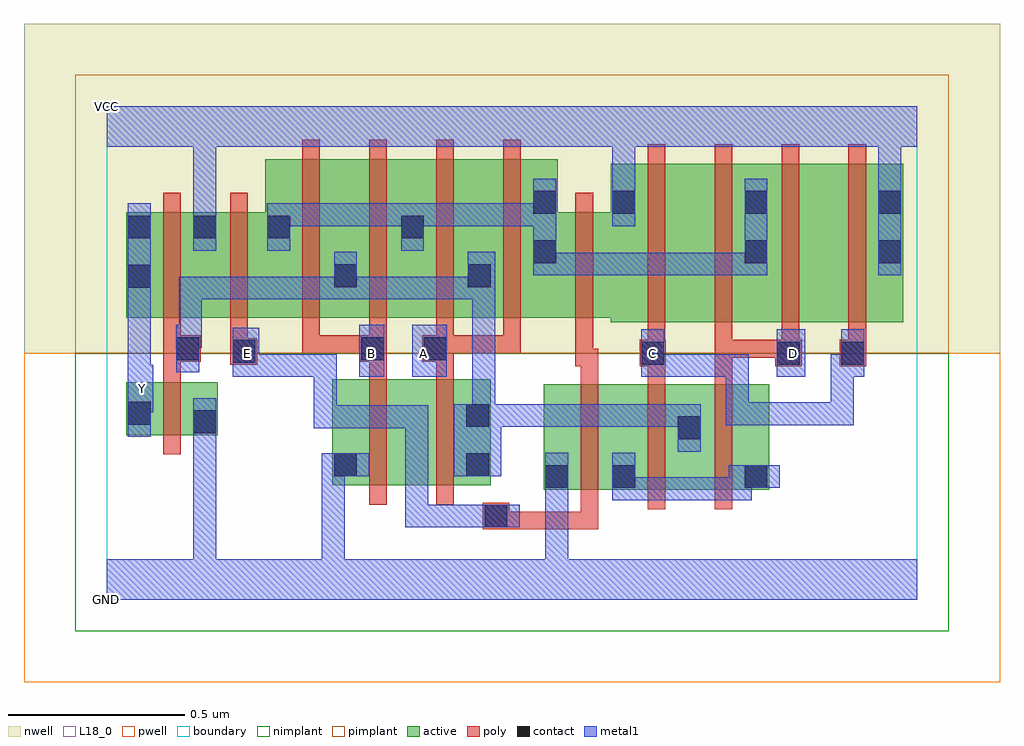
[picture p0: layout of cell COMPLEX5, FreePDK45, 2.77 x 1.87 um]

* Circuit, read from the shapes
.subckt COMPLEX5 A B C D E GND VCC Y
M1 GND n1 Y VSUBS nfet w=0.15u l=0.05u
M2 n2 B GND VSUBS nfet w=0.3u l=0.05u
M3 n1 A n2 VSUBS nfet w=0.3u l=0.05u
M4 n3 E GND VSUBS nfet w=0.3u l=0.05u
M5 n1 C n3 VSUBS nfet w=0.3u l=0.05u
M6 n3 D n1 VSUBS nfet w=0.3u l=0.05u
M7 VCC n1 Y n4 pfet w=0.3u l=0.05u
M8 n5 E VCC n4 pfet w=0.3u l=0.05u m=2
M9 n1 B n5 n4 pfet w=0.45u l=0.05u m=2
M10 n1 A n5 n4 pfet w=0.45u l=0.05u m=2
M11 n6 C VCC n4 pfet w=0.45u l=0.05u
M12 n5 D n6 n4 pfet w=0.45u l=0.05u
M13 n7 D n5 n4 pfet w=0.45u l=0.05u
M14 VCC C n7 n4 pfet w=0.45u l=0.05u
.ends

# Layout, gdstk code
import gdstk
lib = gdstk.Library(unit=1e-6, precision=1e-09)
def R(c, l, rs):  # rectangles x0, y0, x1, y1
    for r in rs: c.add(gdstk.rectangle(r[:2], r[2:], *l))
def A(c, l, x, y, w, h, nx, ny, dx, dy):  # array of equal rectangles
    R(c, l, [(x+i*dx, y+j*dy, x+i*dx+w, y+j*dy+h) for i in range(nx) for j in range(ny)])
active = (1, 0)
pwell = (2, 0)
nwell = (3, 0)
nimplant = (4, 0)
pimplant = (5, 0)
poly = (9, 0)
contact = (10, 0)
metal1 = (11, 0)
L18_0 = (18, 0)
boundary = (235, 0)

complex5 = lib.new_cell('COMPLEX5')
A(complex5, active, 0.45, 0.8, 0.265, 0.45, 3, 1, 0.19, 0)
R(complex5, active, [(1.24,0.312,1.315,0.612), (1.24,0.312,1.505,0.612), (1.43,0.312,1.69,0.612), (1.43,0.312,1.505,0.547), (1.615,0.312,1.88,0.612), (1.805,0.312,1.88,0.612), (0.64,0.325,0.715,0.625), (0.64,0.325,0.865,0.625), (0.865,0.325,1.09,0.625), (1.615,0.33,1.69,0.525), (1.015,0.345,1.09,0.625), (0.055,0.467,0.315,0.617), (0.24,0.467,0.315,0.617), (0.055,0.492,0.13,0.617), (1.43,0.787,1.655,1.237), (1.655,0.787,1.88,1.237), (1.805,0.787,2.035,1.237), (1.805,0.787,1.88,1.2), (2.035,0.787,2.26,1.237), (2.185,0.787,2.26,1.237), (0.055,0.8,0.13,1.1), (0.055,0.8,0.315,1.1), (0.24,0.8,0.525,1.1), (0.64,0.8,0.715,1.07), (0.83,0.8,0.905,1.2), (1.02,0.8,1.28,1.25), (1.02,0.8,1.095,1.07), (1.205,0.8,1.505,1.1), (1.205,0.95,1.28,1.2), (0.24,1.007,0.315,1.1), (0.45,1.007,0.525,1.2), (1.43,1.007,1.505,1.165)])
R(complex5, pwell, [(-0.235,-0.235,2.535,0.7)])
R(complex5, nwell, [(-0.235,0.7,2.535,1.635)])
R(complex5, nimplant, [(-0.09,-0.09,2.39,0.7)])
R(complex5, pimplant, [(-0.09,0.7,2.39,1.49)])
A(complex5, poly, 1.345, 0.257, 0.05, 0.41, 3, 1, 0.19, 0)
A(complex5, poly, 1.535, 0.687, 0.05, 0.095, 4, 1, 0.19, 0)
A(complex5, poly, 0.555, 0.7, 0.05, 0.095, 4, 1, 0.19, 0)
A(complex5, poly, 1.535, 0.732, 0.05, 0.56, 4, 1, 0.19, 0)
A(complex5, poly, 0.555, 0.745, 0.05, 0.56, 4, 1, 0.19, 0)
R(complex5, poly, [(1.067,0.2,1.142,0.275), (1.092,0.2,1.142,0.25), (1.092,0.2,1.142,0.25), (1.092,0.2,1.395,0.25), (1.345,0.2,1.395,0.25), (1.345,0.2,1.395,0.25), (1.345,0.2,1.395,0.25), (1.345,0.2,1.395,0.307), (0.745,0.27,0.795,0.68), (0.935,0.27,0.985,0.68), (0.16,0.412,0.21,0.672), (1.345,0.617,1.395,0.712), (1.535,0.617,1.585,0.712), (1.725,0.617,1.775,0.737), (0.16,0.622,0.21,0.725), (0.745,0.63,0.795,0.725), (0.935,0.63,0.985,0.725), (1.33,0.662,1.38,0.795), (1.33,0.662,1.395,0.712), (1.512,0.662,1.587,0.737), (1.897,0.662,1.972,0.737), (2.08,0.662,2.155,0.737), (0.35,0.667,0.427,0.742), (0.16,0.675,0.267,0.75), (0.717,0.675,0.795,0.75), (0.895,0.675,0.985,0.75), (1.725,0.687,1.775,0.737), (1.725,0.687,1.947,0.737), (1.897,0.687,1.947,0.737), (1.897,0.687,1.947,0.737), (0.35,0.692,0.4,0.795), (0.16,0.7,0.21,0.795), (0.555,0.7,0.605,0.75), (0.555,0.7,0.767,0.75), (0.717,0.7,0.767,0.75), (0.717,0.7,0.767,0.75), (0.935,0.7,0.985,0.75), (0.935,0.7,0.985,0.75), (0.935,0.7,1.175,0.75), (1.125,0.7,1.175,0.75), (0.16,0.745,0.21,1.155), (0.35,0.745,0.4,1.155), (1.33,0.745,1.38,1.155)])
R(complex5, contact, [(1.072,0.205,1.137,0.27), (1.245,0.317,1.31,0.382), (1.435,0.317,1.5,0.382), (1.81,0.317,1.875,0.382), (0.645,0.35,0.71,0.415), (1.02,0.35,1.085,0.415), (1.62,0.455,1.685,0.52), (0.245,0.472,0.31,0.537), (1.02,0.49,1.085,0.555), (0.06,0.497,0.125,0.562), (1.517,0.667,1.582,0.732), (1.902,0.667,1.967,0.732), (2.085,0.667,2.15,0.732), (0.357,0.672,0.422,0.737), (0.197,0.68,0.262,0.745), (0.722,0.68,0.787,0.745), (0.9,0.68,0.965,0.745), (0.06,0.885,0.125,0.95), (0.645,0.887,0.71,0.952), (1.025,0.887,1.09,0.952), (1.21,0.955,1.275,1.02), (1.81,0.955,1.875,1.02), (2.19,0.955,2.255,1.02), (0.06,1.025,0.125,1.09), (0.245,1.025,0.31,1.09), (0.455,1.025,0.52,1.09), (0.835,1.025,0.9,1.09), (1.21,1.095,1.275,1.16), (1.435,1.095,1.5,1.16), (1.81,1.095,1.875,1.16), (2.19,1.095,2.255,1.16)])
R(complex5, metal1, [(0,0,2.3,0.115), (0.245,0.05,0.31,0.115), (0.245,0.05,0.31,0.115), (0.245,0.05,0.31,0.115), (0.245,0.05,0.31,0.115), (0.245,0.05,0.31,0.115), (0.245,0.05,0.31,0.115), (0.245,0.05,0.31,0.502), (0.61,0.05,0.675,0.115), (0.61,0.05,0.675,0.115), (0.61,0.05,0.675,0.115), (0.61,0.05,0.675,0.115), (0.61,0.05,0.675,0.415), (1.245,0.05,1.31,0.347), (0.847,0.205,0.912,0.27), (0.847,0.205,0.912,0.27), (0.847,0.205,0.912,0.27), (0.847,0.205,0.912,0.27), (0.847,0.205,0.912,0.27), (0.847,0.205,1.102,0.27), (0.847,0.205,0.912,0.552), (1.037,0.205,1.102,0.27), (1.037,0.205,1.102,0.27), (1.037,0.205,1.172,0.27), (1.245,0.282,1.31,0.417), (1.245,0.282,1.31,0.347), (1.245,0.282,1.31,0.347), (1.245,0.282,1.31,0.347), (1.245,0.282,1.31,0.347), (1.435,0.282,1.5,0.417), (1.435,0.282,1.5,0.347), (1.435,0.282,1.5,0.347), (1.435,0.282,1.637,0.347), (1.572,0.282,1.637,0.347), (1.572,0.282,1.83,0.347), (1.765,0.282,1.83,0.382), (1.765,0.317,1.84,0.382), (1.775,0.317,1.91,0.382), (0.61,0.35,0.745,0.415), (0.985,0.35,1.12,0.555), (1.62,0.42,1.685,0.555), (0.245,0.437,0.31,0.572), (0.06,0.462,0.125,0.597), (0.587,0.487,0.652,0.552), (0.587,0.487,0.707,0.552), (0.587,0.487,0.652,0.697), (0.642,0.487,0.707,0.552), (0.642,0.487,0.912,0.552), (0.847,0.487,0.912,0.552), (1.037,0.49,1.102,0.555), (1.037,0.49,1.102,0.555), (1.037,0.49,1.102,0.917), (1.055,0.49,1.12,0.555), (1.055,0.49,1.12,0.555), (1.055,0.49,1.362,0.555), (1.297,0.49,1.362,0.555), (1.297,0.49,1.362,0.555), (1.297,0.49,1.362,0.555), (1.297,0.49,1.5,0.555), (1.435,0.49,1.5,0.555), (1.435,0.49,1.5,0.555), (1.435,0.49,1.5,0.555), (1.435,0.49,1.685,0.555), (1.757,0.495,1.822,0.697), (1.757,0.495,1.822,0.56), (1.757,0.495,1.967,0.56), (1.902,0.495,1.967,0.56), (1.902,0.495,2.12,0.56), (2.055,0.495,2.12,0.697), (2.055,0.495,2.12,0.56), (0.06,0.532,0.125,0.597), (0.06,0.532,0.132,0.667), (0.06,0.602,0.125,0.915), (0.357,0.632,0.432,0.772), (0.367,0.632,0.432,0.697), (0.367,0.632,0.432,0.697), (0.367,0.632,0.57,0.697), (0.505,0.632,0.57,0.697), (0.505,0.632,0.652,0.697), (0.587,0.632,0.652,0.697), (0.717,0.632,0.787,0.78), (0.867,0.632,0.965,0.78), (1.517,0.632,1.582,0.767), (1.517,0.632,1.637,0.697), (1.572,0.632,1.637,0.697), (1.572,0.632,1.822,0.697), (1.757,0.632,1.822,0.697), (1.757,0.632,1.822,0.697), (1.757,0.632,1.822,0.697), (1.902,0.632,1.982,0.767), (2.055,0.632,2.15,0.697), (2.055,0.632,2.12,0.697), (2.085,0.632,2.15,0.767), (0.197,0.645,0.262,0.78), (0.197,0.715,0.27,0.78), (0.205,0.715,0.27,0.917), (0.205,0.715,0.27,0.78), (0.06,0.85,0.125,1.125), (0.205,0.852,0.27,0.917), (0.205,0.852,0.432,0.917), (0.367,0.852,0.432,0.917), (0.367,0.852,0.432,0.917), (0.367,0.852,0.432,0.917), (0.367,0.852,0.57,0.917), (0.505,0.852,0.57,0.917), (0.505,0.852,0.71,0.917), (0.645,0.852,0.71,0.987), (0.645,0.852,0.71,0.917), (0.645,0.852,0.71,0.917), (0.645,0.852,0.912,0.917), (0.847,0.852,0.912,0.917), (0.847,0.852,0.912,0.917), (0.847,0.852,0.912,0.917), (0.847,0.852,1.09,0.917), (1.025,0.852,1.102,0.987), (1.21,0.92,1.275,1.195), (1.21,0.92,1.275,0.985), (1.21,0.92,1.275,0.985), (1.21,0.92,1.362,0.985), (1.297,0.92,1.362,0.985), (1.297,0.92,1.5,0.985), (1.435,0.92,1.5,0.985), (1.435,0.92,1.5,0.985), (1.435,0.92,1.5,0.985), (1.435,0.92,1.637,0.985), (1.572,0.92,1.637,0.985), (1.572,0.92,1.72,0.985), (1.655,0.92,1.72,0.985), (1.655,0.92,1.875,0.985), (1.81,0.92,1.875,1.195), (2.19,0.92,2.255,1.195), (0.245,0.99,0.31,1.125), (0.455,0.99,0.52,1.125), (0.835,0.99,0.9,1.125), (0.245,1.06,0.31,1.35), (0.455,1.06,0.57,1.125), (0.505,1.06,0.57,1.125), (0.505,1.06,0.707,1.125), (0.642,1.06,0.707,1.125), (0.642,1.06,0.707,1.125), (0.642,1.06,0.707,1.125), (0.642,1.06,0.9,1.125), (0.835,1.06,0.9,1.125), (0.835,1.06,0.9,1.125), (0.835,1.06,1.137,1.125), (1.072,1.06,1.137,1.125), (1.072,1.06,1.137,1.125), (1.072,1.06,1.137,1.125), (1.072,1.06,1.275,1.125), (1.435,1.06,1.5,1.195), (1.435,1.13,1.5,1.35), (2.19,1.13,2.255,1.35), (0,1.285,2.3,1.4), (0.245,1.285,0.31,1.35), (0.245,1.285,0.31,1.35)])
R(complex5, L18_0, [(0,0,2.3,0.115), (0.245,0.05,0.31,0.115), (0.245,0.05,0.31,0.115), (0.245,0.05,0.31,0.115), (0.245,0.05,0.31,0.115), (0.245,0.05,0.31,0.115), (0.245,0.05,0.31,0.115), (0.245,0.05,0.31,0.502), (0.61,0.05,0.675,0.115), (0.61,0.05,0.675,0.115), (0.61,0.05,0.675,0.115), (0.61,0.05,0.675,0.115), (0.61,0.05,0.675,0.415), (1.245,0.05,1.31,0.347), (0.847,0.205,0.912,0.27), (0.847,0.205,0.912,0.27), (0.847,0.205,0.912,0.27), (0.847,0.205,0.912,0.27), (0.847,0.205,0.912,0.27), (0.847,0.205,0.912,0.552), (0.847,0.205,1.102,0.27), (1.037,0.205,1.102,0.27), (1.037,0.205,1.102,0.27), (1.037,0.205,1.172,0.27), (1.245,0.282,1.31,0.417), (1.245,0.282,1.31,0.347), (1.245,0.282,1.31,0.347), (1.245,0.282,1.31,0.347), (1.245,0.282,1.31,0.347), (0.61,0.35,0.745,0.415), (0.245,0.437,0.31,0.572), (0.06,0.462,0.125,0.597), (0.587,0.487,0.652,0.552), (0.587,0.487,0.652,0.697), (0.587,0.487,0.707,0.552), (0.642,0.487,0.707,0.552), (0.642,0.487,0.912,0.552), (0.847,0.487,0.912,0.552), (1.757,0.495,1.822,0.56), (1.757,0.495,1.822,0.697), (1.757,0.495,1.967,0.56), (1.902,0.495,1.967,0.56), (1.902,0.495,2.12,0.56), (2.055,0.495,2.12,0.56), (2.055,0.495,2.12,0.697), (0.06,0.532,0.132,0.667), (0.06,0.532,0.125,0.597), (0.067,0.567,0.132,0.632), (0.06,0.602,0.125,0.915), (0.357,0.632,0.432,0.772), (0.367,0.632,0.432,0.697), (0.367,0.632,0.432,0.697), (0.367,0.632,0.57,0.697), (0.505,0.632,0.57,0.697), (0.505,0.632,0.652,0.697), (0.587,0.632,0.652,0.697), (0.717,0.632,0.787,0.78), (0.867,0.632,0.965,0.78), (1.517,0.632,1.582,0.767), (1.517,0.632,1.637,0.697), (1.572,0.632,1.637,0.697), (1.572,0.632,1.822,0.697), (1.757,0.632,1.822,0.697), (1.757,0.632,1.822,0.697), (1.757,0.632,1.822,0.697), (1.902,0.632,1.982,0.767), (2.055,0.632,2.12,0.697), (2.055,0.632,2.15,0.697), (2.085,0.632,2.15,0.767), (0.367,0.667,0.432,0.732), (0.717,0.667,0.782,0.732), (0.867,0.667,0.932,0.732), (1.517,0.667,1.582,0.732), (1.917,0.667,1.982,0.732), (0.06,0.85,0.125,1.125), (2.19,0.92,2.255,1.195), (0.245,0.99,0.31,1.125), (0.245,1.06,0.31,1.35), (1.435,1.06,1.5,1.195), (1.435,1.13,1.5,1.35), (2.19,1.13,2.255,1.35), (0,1.285,2.3,1.4), (0.245,1.285,0.31,1.35), (0.245,1.285,0.31,1.35)])
R(complex5, boundary, [(0,0,2.3,1.4)])
complex5.add(gdstk.Label('A', (0.9,0.7), layer=11, texttype=0))
complex5.add(gdstk.Label('B', (0.75,0.7), layer=11, texttype=0))
complex5.add(gdstk.Label('C', (1.55,0.7), layer=11, texttype=0))
complex5.add(gdstk.Label('D', (1.95,0.7), layer=11, texttype=0))
complex5.add(gdstk.Label('E', (0.4,0.7), layer=11, texttype=0))
complex5.add(gdstk.Label('Y', (0.1,0.6), layer=11, texttype=0))
complex5.add(gdstk.Label('VCC', (0,1.4), layer=11, texttype=0))
complex5.add(gdstk.Label('GND', (0,0), layer=11, texttype=0))

lib.write_gds('COMPLEX5.gds')
